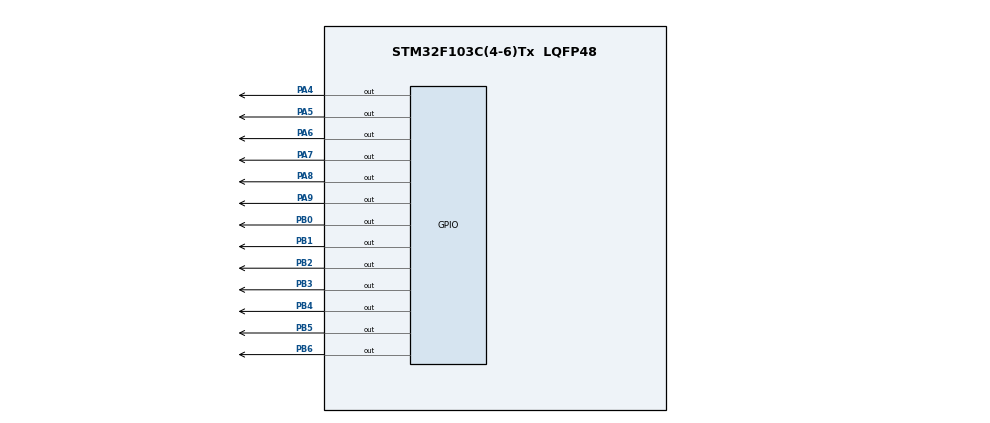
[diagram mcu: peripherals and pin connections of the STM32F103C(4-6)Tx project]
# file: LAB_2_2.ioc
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Mcu.Family=STM32F1
Mcu.Name=STM32F103C(4-6)Tx
Mcu.Package=LQFP48
NVIC.PriorityGroup=NVIC_PRIORITYGROUP_4
NVIC.TIM2_IRQn=true\:0\:0\:false\:false\:true\:true\:true
PA4.Signal=GPIO_Output
PA5.Signal=GPIO_Output
PA6.PinState=GPIO_PIN_SET
PA6.Signal=GPIO_Output
PA7.PinState=GPIO_PIN_SET
PA7.Signal=GPIO_Output
PA8.Signal=GPIO_Output
PA9.Signal=GPIO_Output
PB0.Signal=GPIO_Output
PB1.Signal=GPIO_Output
PB2.Signal=GPIO_Output
PB3.Signal=GPIO_Output
PB4.Signal=GPIO_Output
PB5.Signal=GPIO_Output
PB6.Signal=GPIO_Output
ProjectManager.HeapSize=0x200
ProjectManager.StackSize=0x400
ProjectManager.TargetToolchain=STM32CubeIDE
RCC.APB1Freq_Value=8000000
RCC.APB2Freq_Value=8000000
TIM2.AutoReloadPreload=TIM_AUTORELOAD_PRELOAD_ENABLE
TIM2.Period=499
TIM2.Prescaler=7999
VP_SYS_VS_ND.Mode=No_Debug
VP_TIM2_VS_ClockSourceINT.Mode=Internal
board=custom

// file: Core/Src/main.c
/* USER CODE BEGIN Header */
/**
  ******************************************************************************
  * @file           : main.c
  * @brief          : Main program body for Lab 2 - Exercise 2
  ******************************************************************************
  * @attention
  *
  * <h2><center>&copy; Copyright (c) 2026 STMicroelectronics.
  * All rights reserved.</center></h2>
  *
  * This software component is licensed by ST under BSD 3-Clause license,
  * the "License"; You may not use this file except in compliance with the
  * License. You may obtain a copy of the License at:
  *                        opensource.org/licenses/BSD-3-Clause
  *
  ******************************************************************************
  */
/* USER CODE END Header */
#include "main.h"

TIM_HandleTypeDef htim2;

/* USER CODE BEGIN PV */
int display_state = 0;
/* USER CODE END PV */

void SystemClock_Config(void);
static void MX_GPIO_Init(void);
static void MX_TIM2_Init(void);

/* USER CODE BEGIN 0 */
void display7SEG(int num) {
    // Hex array for common anode 7-segment (0 turns segment ON, 1 turns it OFF)
    uint8_t segmentMap[10] = {0x40, 0x79, 0x24, 0x30, 0x19, 0x12, 0x02, 0x78, 0x00, 0x10};

    if (num < 0 || num > 9) return;

    uint8_t val = segmentMap[num];

    // Write the corresponding bit to PB0 - PB6
    HAL_GPIO_WritePin(GPIOB, GPIO_PIN_0, (val >> 0) & 0x01);
    HAL_GPIO_WritePin(GPIOB, GPIO_PIN_1, (val >> 1) & 0x01);
    HAL_GPIO_WritePin(GPIOB, GPIO_PIN_2, (val >> 2) & 0x01);
    HAL_GPIO_WritePin(GPIOB, GPIO_PIN_3, (val >> 3) & 0x01);
    HAL_GPIO_WritePin(GPIOB, GPIO_PIN_4, (val >> 4) & 0x01);
    HAL_GPIO_WritePin(GPIOB, GPIO_PIN_5, (val >> 5) & 0x01);
    HAL_GPIO_WritePin(GPIOB, GPIO_PIN_6, (val >> 6) & 0x01);
}
/* USER CODE END 0 */

int main(void)
{

  /* MCU Configuration--------------------------------------------------------*/

  /* Reset of all peripherals, Initializes the Flash interface and the Systick. */
  HAL_Init();

  /* Configure the system clock */
  SystemClock_Config();

  /* Initialize all configured peripherals */
  MX_GPIO_Init();
  MX_TIM2_Init();
  /* USER CODE BEGIN 2 */
  // Start TIM2 in interrupt mode
  if (HAL_TIM_Base_Start_IT(&htim2) != HAL_OK) {
      Error_Handler();
  }
  /* USER CODE END 2 */

  /* Infinite loop */
  while (1)
  {

  }
}

void SystemClock_Config(void)
{
  RCC_OscInitTypeDef RCC_OscInitStruct = {0};
  RCC_ClkInitTypeDef RCC_ClkInitStruct = {0};

  /** Initializes the RCC Oscillators according to the specified parameters
  * in the RCC_OscInitTypeDef structure.
  */
  RCC_OscInitStruct.OscillatorType = RCC_OSCILLATORTYPE_HSI;
  RCC_OscInitStruct.HSIState = RCC_HSI_ON;
  RCC_OscInitStruct.HSICalibrationValue = RCC_HSICALIBRATION_DEFAULT;
  RCC_OscInitStruct.PLL.PLLState = RCC_PLL_NONE;
  if (HAL_RCC_OscConfig(&RCC_OscInitStruct) != HAL_OK)
  {
    Error_Handler();
  }
  /** Initializes the CPU, AHB and APB buses clocks
  */
  RCC_ClkInitStruct.ClockType = RCC_CLOCKTYPE_HCLK|RCC_CLOCKTYPE_SYSCLK
                              |RCC_CLOCKTYPE_PCLK1|RCC_CLOCKTYPE_PCLK2;
  RCC_ClkInitStruct.SYSCLKSource = RCC_SYSCLKSOURCE_HSI;
  RCC_ClkInitStruct.AHBCLKDivider = RCC_SYSCLK_DIV1;
  RCC_ClkInitStruct.APB1CLKDivider = RCC_HCLK_DIV1;
  RCC_ClkInitStruct.APB2CLKDivider = RCC_HCLK_DIV1;

  if (HAL_RCC_ClockConfig(&RCC_ClkInitStruct, FLASH_LATENCY_0) != HAL_OK)
  {
    Error_Handler();
  }
}

static void MX_TIM2_Init(void)
{

  TIM_ClockConfigTypeDef sClockSourceConfig = {0};
  TIM_MasterConfigTypeDef sMasterConfig = {0};

  htim2.Instance = TIM2;
  htim2.Init.Prescaler = 7999;
  htim2.Init.CounterMode = TIM_COUNTERMODE_UP;
  htim2.Init.Period = 499;
  htim2.Init.ClockDivision = TIM_CLOCKDIVISION_DIV1;
  htim2.Init.AutoReloadPreload = TIM_AUTORELOAD_PRELOAD_ENABLE;
  if (HAL_TIM_Base_Init(&htim2) != HAL_OK)
  {
    Error_Handler();
  }
  sClockSourceConfig.ClockSource = TIM_CLOCKSOURCE_INTERNAL;
  if (HAL_TIM_ConfigClockSource(&htim2, &sClockSourceConfig) != HAL_OK)
  {
    Error_Handler();
  }
  sMasterConfig.MasterOutputTrigger = TIM_TRGO_RESET;
  sMasterConfig.MasterSlaveMode = TIM_MASTERSLAVEMODE_DISABLE;
  if (HAL_TIMEx_MasterConfigSynchronization(&htim2, &sMasterConfig) != HAL_OK)
  {
    Error_Handler();
  }

}

static void MX_GPIO_Init(void)
{
  GPIO_InitTypeDef GPIO_InitStruct = {0};

  /* GPIO Ports Clock Enable */
  __HAL_RCC_GPIOA_CLK_ENABLE();
  __HAL_RCC_GPIOB_CLK_ENABLE();

  /*Configure GPIO pin Output Level */
  HAL_GPIO_WritePin(GPIOA, GPIO_PIN_4|GPIO_PIN_5|GPIO_PIN_8|GPIO_PIN_9, GPIO_PIN_RESET);

  /*Configure GPIO pin Output Level */
  HAL_GPIO_WritePin(GPIOA, GPIO_PIN_6|GPIO_PIN_7, GPIO_PIN_SET);

  /*Configure GPIO pin Output Level */
  HAL_GPIO_WritePin(GPIOB, GPIO_PIN_0|GPIO_PIN_1|GPIO_PIN_2|GPIO_PIN_3
                          |GPIO_PIN_4|GPIO_PIN_5|GPIO_PIN_6, GPIO_PIN_RESET);

  /*Configure GPIO pins : PA4 PA5 PA6 PA7
                           PA8 PA9 */
  GPIO_InitStruct.Pin = GPIO_PIN_4|GPIO_PIN_5|GPIO_PIN_6|GPIO_PIN_7
                          |GPIO_PIN_8|GPIO_PIN_9;
  GPIO_InitStruct.Mode = GPIO_MODE_OUTPUT_PP;
  GPIO_InitStruct.Pull = GPIO_NOPULL;
  GPIO_InitStruct.Speed = GPIO_SPEED_FREQ_LOW;
  HAL_GPIO_Init(GPIOA, &GPIO_InitStruct);

  /*Configure GPIO pins : PB0 PB1 PB2 PB3
                           PB4 PB5 PB6 */
  GPIO_InitStruct.Pin = GPIO_PIN_0|GPIO_PIN_1|GPIO_PIN_2|GPIO_PIN_3
                          |GPIO_PIN_4|GPIO_PIN_5|GPIO_PIN_6;
  GPIO_InitStruct.Mode = GPIO_MODE_OUTPUT_PP;
  GPIO_InitStruct.Pull = GPIO_NOPULL;
  GPIO_InitStruct.Speed = GPIO_SPEED_FREQ_LOW;
  HAL_GPIO_Init(GPIOB, &GPIO_InitStruct);

}

/* USER CODE BEGIN 4 */
void HAL_TIM_PeriodElapsedCallback(TIM_HandleTypeDef *htim)
{
    if(htim->Instance == TIM2)
    {
        // 1. Turn OFF all EN pins (PA6 to PA9) to prevent ghosting between frames
        HAL_GPIO_WritePin(GPIOA, GPIO_PIN_6 | GPIO_PIN_7 | GPIO_PIN_8 | GPIO_PIN_9, GPIO_PIN_SET);

        // 2. Output the next number and turn on the corresponding EN pin
        switch (display_state) {
            case 0:
                display7SEG(1);
                HAL_GPIO_WritePin(GPIOA, GPIO_PIN_6, GPIO_PIN_RESET); // Turn ON EN0
                display_state = 1;
                break;
            case 1:
                display7SEG(2);
                HAL_GPIO_WritePin(GPIOA, GPIO_PIN_7, GPIO_PIN_RESET); // Turn ON EN1
                display_state = 2;
                break;
            case 2:
                display7SEG(3);
                HAL_GPIO_WritePin(GPIOA, GPIO_PIN_8, GPIO_PIN_RESET); // Turn ON EN2
                display_state = 3;
                break;
            case 3:
                display7SEG(0);
                HAL_GPIO_WritePin(GPIOA, GPIO_PIN_9, GPIO_PIN_RESET); // Turn ON EN3
                display_state = 0;
                break;
        }

        // 3. Toggle the DOT LEDs (PA4) - toggling every 500ms creates a 1-second blink cycle
        HAL_GPIO_TogglePin(GPIOA, GPIO_PIN_4);

        // (Optional) Toggle D1 on PA5
        HAL_GPIO_TogglePin(GPIOA, GPIO_PIN_5);
    }
}
/* USER CODE END 4 */

void Error_Handler(void)
{
  __disable_irq();
  while (1)
  {
  }
}

/************************ (C) COPYRIGHT STMicroelectronics *****END OF FILE****/
